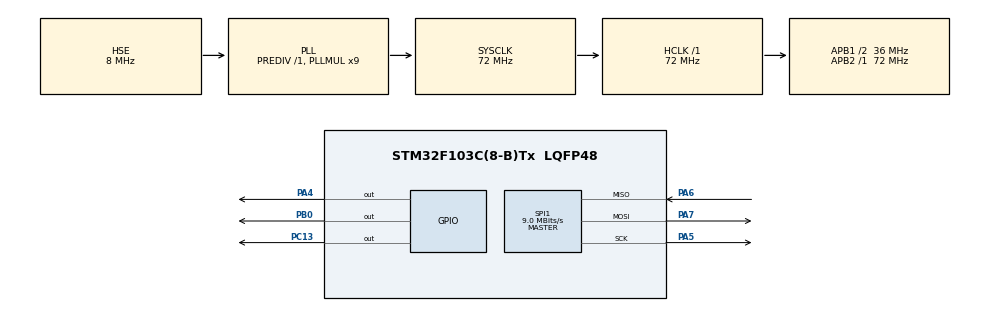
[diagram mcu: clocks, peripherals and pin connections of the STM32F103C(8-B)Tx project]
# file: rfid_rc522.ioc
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Mcu.Family=STM32F1
Mcu.Name=STM32F103C(8-B)Tx
Mcu.Package=LQFP48
NVIC.PriorityGroup=NVIC_PRIORITYGROUP_4
PA13.Mode=Serial_Wire
PA13.Signal=SYS_JTMS-SWDIO
PA14.Mode=Serial_Wire
PA14.Signal=SYS_JTCK-SWCLK
PA4.Signal=GPIO_Output
PA5.Mode=Full_Duplex_Master
PA5.Signal=SPI1_SCK
PA6.Mode=Full_Duplex_Master
PA6.Signal=SPI1_MISO
PA7.Mode=Full_Duplex_Master
PA7.Signal=SPI1_MOSI
PB0.Signal=GPIO_Output
PC13-TAMPER-RTC.Signal=GPIO_Output
PD0-OSC_IN.Mode=HSE-External-Oscillator
PD0-OSC_IN.Signal=RCC_OSC_IN
PD1-OSC_OUT.Mode=HSE-External-Oscillator
PD1-OSC_OUT.Signal=RCC_OSC_OUT
ProjectManager.HeapSize=0x200
ProjectManager.StackSize=0x400
ProjectManager.TargetToolchain=STM32CubeIDE
RCC.AHBFreq_Value=72000000
RCC.APB1CLKDivider=RCC_HCLK_DIV2
RCC.APB1Freq_Value=36000000
RCC.APB1TimFreq_Value=72000000
RCC.APB2Freq_Value=72000000
RCC.APB2TimFreq_Value=72000000
RCC.HCLKFreq_Value=72000000
RCC.PLLMUL=RCC_PLL_MUL9
RCC.PLLSourceVirtual=RCC_PLLSOURCE_HSE
RCC.SYSCLKFreq_VALUE=72000000
RCC.SYSCLKSource=RCC_SYSCLKSOURCE_PLLCLK
RCC.USBFreq_Value=72000000
SPI1.BaudRatePrescaler=SPI_BAUDRATEPRESCALER_8
SPI1.CalculateBaudRate=9.0 MBits/s
SPI1.Direction=SPI_DIRECTION_2LINES
SPI1.Mode=SPI_MODE_MASTER
SPI1.VirtualType=VM_MASTER
board=custom

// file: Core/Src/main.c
/* USER CODE BEGIN Header */
/**
  ******************************************************************************
  * @file           : main.c
  * @brief          : Main program body
  ******************************************************************************
  * @attention
  *
  * Copyright (c) 2024 STMicroelectronics.
  * All rights reserved.
  *
  * This software is licensed under terms that can be found in the LICENSE file
  * in the root directory of this software component.
  * If no LICENSE file comes with this software, it is provided AS-IS.
  *
  ******************************************************************************
  */
/* USER CODE END Header */
#include "main.h"

/* USER CODE BEGIN Includes */
#include "rc522.h"
#include "string.h"
/* USER CODE END Includes */

SPI_HandleTypeDef hspi1;

/* USER CODE BEGIN PV */
uint8_t status;
uint8_t str[MAX_LEN]; // Max_LEN = 16
uint8_t sNum[5];
/* USER CODE END PV */

void SystemClock_Config(void);
static void MX_GPIO_Init(void);
static void MX_SPI1_Init(void);

int main(void)
{

  /* MCU Configuration--------------------------------------------------------*/

  /* Reset of all peripherals, Initializes the Flash interface and the Systick. */
  HAL_Init();

  /* Configure the system clock */
  SystemClock_Config();

  /* Initialize all configured peripherals */
  MX_GPIO_Init();
  MX_SPI1_Init();
  /* USER CODE BEGIN 2 */
  MFRC522_Init();
  /* USER CODE END 2 */

  /* Infinite loop */
  /* USER CODE BEGIN WHILE */
  while (1)
  {
	  status = MFRC522_Request(PICC_REQIDL, str);
	  status = MFRC522_Anticoll(str);
	  memcpy(sNum, str, 5);
	  HAL_Delay(100);
	   if((str[0]==115) && (str[1]==93) && (str[2]==75) && (str[3]==22) && (str[4]==115) )
	   {
	   	HAL_GPIO_WritePin(GPIOC,GPIO_PIN_13,0);
	   	HAL_Delay(100);
	   }
	   else if((str[0]==199) && (str[1]==102) && (str[2]==209) && (str[3]==215) && (str[4]==167) )
	   {
	   	HAL_GPIO_WritePin(GPIOC,GPIO_PIN_13,0);
	   	HAL_Delay(2000);
	   }
	   else
	   {
	   	HAL_GPIO_WritePin(GPIOC,GPIO_PIN_13,1);
	   }
    /* USER CODE END WHILE */

  }
}

void SystemClock_Config(void)
{
  RCC_OscInitTypeDef RCC_OscInitStruct = {0};
  RCC_ClkInitTypeDef RCC_ClkInitStruct = {0};

  /** Initializes the RCC Oscillators according to the specified parameters
  * in the RCC_OscInitTypeDef structure.
  */
  RCC_OscInitStruct.OscillatorType = RCC_OSCILLATORTYPE_HSE;
  RCC_OscInitStruct.HSEState = RCC_HSE_ON;
  RCC_OscInitStruct.HSEPredivValue = RCC_HSE_PREDIV_DIV1;
  RCC_OscInitStruct.HSIState = RCC_HSI_ON;
  RCC_OscInitStruct.PLL.PLLState = RCC_PLL_ON;
  RCC_OscInitStruct.PLL.PLLSource = RCC_PLLSOURCE_HSE;
  RCC_OscInitStruct.PLL.PLLMUL = RCC_PLL_MUL9;
  if (HAL_RCC_OscConfig(&RCC_OscInitStruct) != HAL_OK)
  {
    Error_Handler();
  }

  /** Initializes the CPU, AHB and APB buses clocks
  */
  RCC_ClkInitStruct.ClockType = RCC_CLOCKTYPE_HCLK|RCC_CLOCKTYPE_SYSCLK
                              |RCC_CLOCKTYPE_PCLK1|RCC_CLOCKTYPE_PCLK2;
  RCC_ClkInitStruct.SYSCLKSource = RCC_SYSCLKSOURCE_PLLCLK;
  RCC_ClkInitStruct.AHBCLKDivider = RCC_SYSCLK_DIV1;
  RCC_ClkInitStruct.APB1CLKDivider = RCC_HCLK_DIV2;
  RCC_ClkInitStruct.APB2CLKDivider = RCC_HCLK_DIV1;

  if (HAL_RCC_ClockConfig(&RCC_ClkInitStruct, FLASH_LATENCY_2) != HAL_OK)
  {
    Error_Handler();
  }
}

static void MX_SPI1_Init(void)
{

  /* SPI1 parameter configuration*/
  hspi1.Instance = SPI1;
  hspi1.Init.Mode = SPI_MODE_MASTER;
  hspi1.Init.Direction = SPI_DIRECTION_2LINES;
  hspi1.Init.DataSize = SPI_DATASIZE_8BIT;
  hspi1.Init.CLKPolarity = SPI_POLARITY_LOW;
  hspi1.Init.CLKPhase = SPI_PHASE_1EDGE;
  hspi1.Init.NSS = SPI_NSS_SOFT;
  hspi1.Init.BaudRatePrescaler = SPI_BAUDRATEPRESCALER_8;
  hspi1.Init.FirstBit = SPI_FIRSTBIT_MSB;
  hspi1.Init.TIMode = SPI_TIMODE_DISABLE;
  hspi1.Init.CRCCalculation = SPI_CRCCALCULATION_DISABLE;
  hspi1.Init.CRCPolynomial = 10;
  if (HAL_SPI_Init(&hspi1) != HAL_OK)
  {
    Error_Handler();
  }

}

static void MX_GPIO_Init(void)
{
  GPIO_InitTypeDef GPIO_InitStruct = {0};

  /* GPIO Ports Clock Enable */
  __HAL_RCC_GPIOC_CLK_ENABLE();
  __HAL_RCC_GPIOD_CLK_ENABLE();
  __HAL_RCC_GPIOA_CLK_ENABLE();
  __HAL_RCC_GPIOB_CLK_ENABLE();

  /*Configure GPIO pin Output Level */
  HAL_GPIO_WritePin(GPIOC, GPIO_PIN_13, GPIO_PIN_RESET);

  /*Configure GPIO pin Output Level */
  HAL_GPIO_WritePin(GPIOA, GPIO_PIN_4, GPIO_PIN_RESET);

  /*Configure GPIO pin Output Level */
  HAL_GPIO_WritePin(GPIOB, GPIO_PIN_0, GPIO_PIN_RESET);

  /*Configure GPIO pin : PC13 */
  GPIO_InitStruct.Pin = GPIO_PIN_13;
  GPIO_InitStruct.Mode = GPIO_MODE_OUTPUT_PP;
  GPIO_InitStruct.Pull = GPIO_NOPULL;
  GPIO_InitStruct.Speed = GPIO_SPEED_FREQ_LOW;
  HAL_GPIO_Init(GPIOC, &GPIO_InitStruct);

  /*Configure GPIO pin : PA4 */
  GPIO_InitStruct.Pin = GPIO_PIN_4;
  GPIO_InitStruct.Mode = GPIO_MODE_OUTPUT_PP;
  GPIO_InitStruct.Pull = GPIO_NOPULL;
  GPIO_InitStruct.Speed = GPIO_SPEED_FREQ_LOW;
  HAL_GPIO_Init(GPIOA, &GPIO_InitStruct);

  /*Configure GPIO pin : PB0 */
  GPIO_InitStruct.Pin = GPIO_PIN_0;
  GPIO_InitStruct.Mode = GPIO_MODE_OUTPUT_PP;
  GPIO_InitStruct.Pull = GPIO_NOPULL;
  GPIO_InitStruct.Speed = GPIO_SPEED_FREQ_LOW;
  HAL_GPIO_Init(GPIOB, &GPIO_InitStruct);

}

void Error_Handler(void)
{
  __disable_irq();
  while (1)
  {
  }
}
